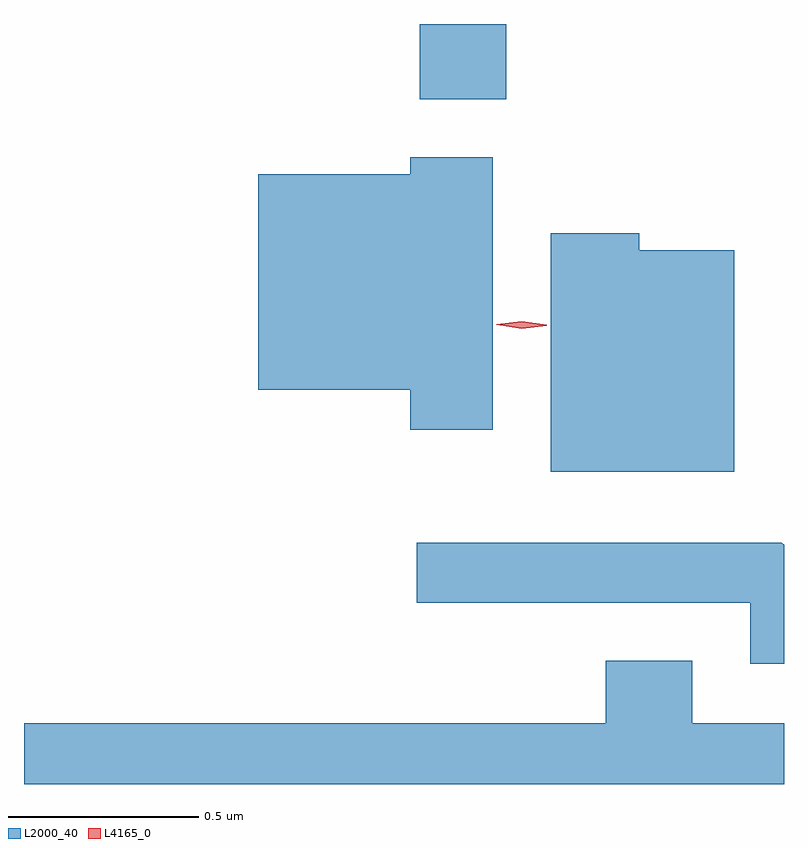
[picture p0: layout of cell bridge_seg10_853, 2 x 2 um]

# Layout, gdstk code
import gdstk
lib = gdstk.Library(unit=1e-6, precision=1e-09)
def R(c, l, rs):  # rectangles x0, y0, x1, y1
    for r in rs: c.add(gdstk.rectangle(r[:2], r[2:], *l))
def P(c, l, *ps):  # polygons
    for p in ps: c.add(gdstk.Polygon(p, *l))
L2000_40 = (2000, 40)
L4165_0 = (4165, 0)

bridge_seg10_853 = lib.new_cell('bridge_seg10_853')
R(bridge_seg10_853, L2000_40, [(278.591,2149.126,278.819,2149.324)])
P(bridge_seg10_853, L2000_40, [(278.784,2148.974),(278.566,2148.974),(278.566,2148.929),(278.166,2148.929),(278.166,2148.361),(278.566,2148.361),(278.566,2148.256),(278.784,2148.256)],
  [(279.419,2148.729),(279.169,2148.729),(279.169,2148.774),(278.936,2148.774),(278.936,2148.146),(279.419,2148.146)],
  [(279.55,2147.953),(279.544,2147.959),(278.583,2147.959),(278.583,2147.801),(279.461,2147.801),(279.461,2147.641),(279.55,2147.641)],
  [(279.55,2147.484),(279.309,2147.484),(279.309,2147.649),(279.081,2147.649),(279.081,2147.484),(277.55,2147.484),(277.55,2147.324),(279.55,2147.324)])
P(bridge_seg10_853, L4165_0, [(278.86,2148.522),(278.794,2148.533),(278.793,2148.533),(278.794,2148.534),(278.86,2148.542),(278.926,2148.532),(278.926,2148.531),(278.926,2148.53)])

lib.write_gds('bridge_seg10_853.gds')
